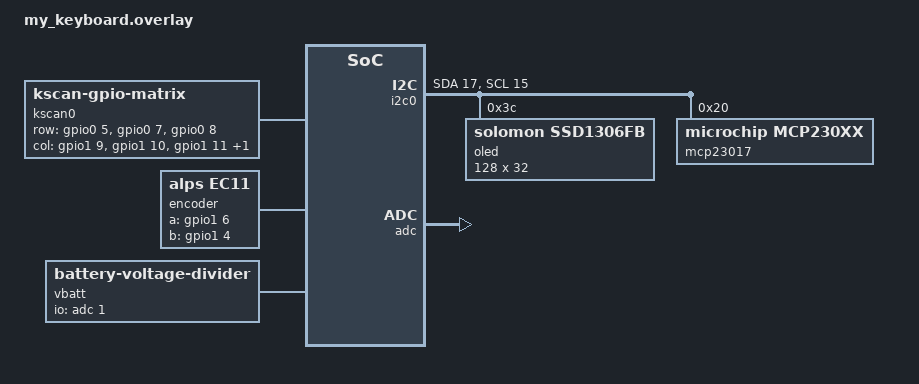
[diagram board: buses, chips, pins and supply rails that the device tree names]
// =============================================================
//  my_keyboard.overlay
//  wasnt too bad either to write this custom using the boilerplate code from ZMKs github
// kinda peak ngl
// =============================================================

#include <dt-bindings/zmk/matrix_transform.h>

// ── I2C Bus (SDA = pin 20 = P0.17, SCL = pin 21 = P0.15) ────
&i2c0 {
    status = "okay";
    sda-pin = <17>;
    scl-pin = <15>;

    // ── OLED (SSD1306 0.91" 128x32) ──────────────────────────
    oled: ssd1306@3c {
        compatible = "solomon,ssd1306fb";
        reg = <0x3c>;
        width = <128>;
        height = <32>;
        segment-offset = <0>;
        page-offset = <0>;
        display-offset = <0>;
        multiplex-ratio = <31>;
        segment-remap;
        com-invdir;
        com-sequential;
        prechargep = <0x22>;
    };

    // ── GPIO Expander (MCP23017 at address 0x20) ──────────────
    mcp23017: mcp23017@20 {
        compatible = "microchip,mcp230xx";
        status = "okay";
        reg = <0x20>;
        gpio-controller;
        #gpio-cells = <2>;
        ngpios = <16>;
    };
};

//  ADC for battery sensing
&adc {
    status = "okay";
};

/ {
    chosen {
        zmk,kscan     = &kscan0;
        zmk,matrix-transform = &default_transform;
        zmk,display   = &oled;
        zmk,underglow = &led_strip;
        zmk,battery   = &vbatt;
    };

    default_transform: keymap_transform_0 {
        // ... existing code ...
    };

    kscan0: kscan {
        compatible = "zmk,kscan-gpio-matrix";
        diode-direction = "col2row";
        row-gpios = <&gpio0 5 (GPIO_ACTIVE_HIGH | GPIO_PULL_DOWN)>,
                    <&gpio0 7 (GPIO_ACTIVE_HIGH | GPIO_PULL_DOWN)>,
                    <&gpio0 8 (GPIO_ACTIVE_HIGH | GPIO_PULL_DOWN)>;
        col-gpios = <&gpio1 9 (GPIO_ACTIVE_HIGH | GPIO_PULL_UP)>,
                    <&gpio1 10 (GPIO_ACTIVE_HIGH | GPIO_PULL_UP)>,
                    <&gpio1 11 (GPIO_ACTIVE_HIGH | GPIO_PULL_UP)>,
                    <&gpio1 12 (GPIO_ACTIVE_HIGH | GPIO_PULL_UP)>;
    };

    encoder: encoder {
        compatible = "alps,ec11";
        a-gpios = <&gpio1 6 (GPIO_ACTIVE_HIGH | GPIO_PULL_UP)>;
        b-gpios = <&gpio1 4 (GPIO_ACTIVE_HIGH | GPIO_PULL_UP)>;
        steps = <80>;
        status = "okay";
    };

    sensors: sensors {
        compatible = "zmk,keymap-sensors";
        sensors = <&encoder>;
        triggers-per-rotation = <20>;
    };

    led_strip: ws2812 {
        compatible = "worldsemi,ws2812-spi";
        spi-max-frequency = <4000000>;
        chain-length = <82>;
        spi-one-frame  = <0x70>;
        spi-zero-frame = <0x40>;
        color-mapping  = <0 1 2>;
    };

    vbatt: vbatt {
        compatible = "zmk,battery-voltage-divider";
        io-channels = <&adc 1>;
        output-ohms  = <820000>;
        full-ohms    = <2820000>;
    };
};
